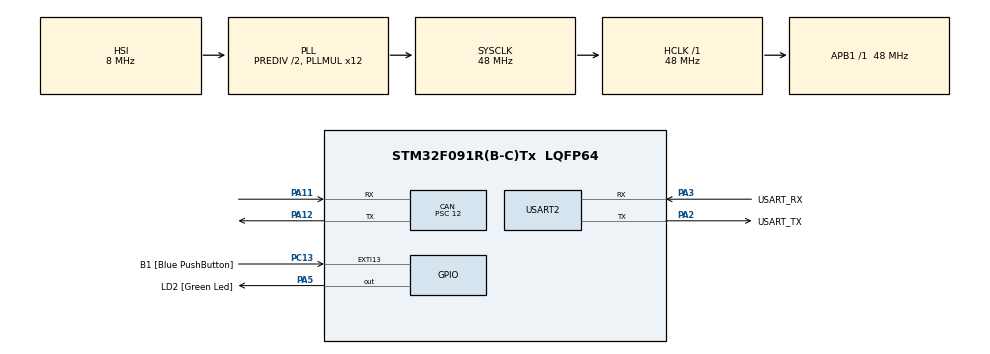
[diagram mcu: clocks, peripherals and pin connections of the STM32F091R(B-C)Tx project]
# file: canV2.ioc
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CAN.BS1=CAN_BS1_8TQ
CAN.BS2=CAN_BS2_2TQ
CAN.CalculateBaudRate=363636
CAN.CalculateTimeBit=2750
CAN.CalculateTimeQuantum=250.0
CAN.Prescaler=12
Mcu.Family=STM32F0
Mcu.Name=STM32F091R(B-C)Tx
Mcu.Package=LQFP64
NVIC.CEC_CAN_IRQn=true\:0\:0\:false\:false\:true\:true\:true
PA11.Mode=CAN_Activate
PA11.Signal=CAN_RX
PA12.Mode=CAN_Activate
PA12.Signal=CAN_TX
PA13.GPIO_Label=TMS
PA13.Mode=Serial_Wire
PA13.Signal=SYS_SWDIO
PA14.GPIO_Label=TCK
PA14.Mode=Serial_Wire
PA14.Signal=SYS_SWCLK
PA2.GPIO_Label=USART_TX
PA2.GPIO_Mode=GPIO_MODE_AF_PP
PA2.GPIO_PuPd=GPIO_NOPULL
PA2.GPIO_Speed=GPIO_SPEED_FREQ_LOW
PA2.Mode=Asynchronous
PA2.Signal=USART2_TX
PA3.GPIO_Label=USART_RX
PA3.GPIO_Mode=GPIO_MODE_AF_PP
PA3.GPIO_PuPd=GPIO_NOPULL
PA3.GPIO_Speed=GPIO_SPEED_FREQ_LOW
PA3.Mode=Asynchronous
PA3.Signal=USART2_RX
PA5.GPIO_Label=LD2 [Green Led]
PA5.GPIO_Mode=GPIO_MODE_OUTPUT_PP
PA5.GPIO_PuPd=GPIO_NOPULL
PA5.GPIO_Speed=GPIO_SPEED_FREQ_LOW
PA5.Signal=GPIO_Output
PC13.GPIO_Label=B1 [Blue PushButton]
PC13.GPIO_ModeDefaultEXTI=GPIO_MODE_IT_FALLING
PC13.Signal=GPXTI13
PC14OSC32_IN.Mode=LSE-External-Oscillator
PC14OSC32_IN.Signal=RCC_OSC32_IN
PC15OSC32_OUT.Mode=LSE-External-Oscillator
PC15OSC32_OUT.Signal=RCC_OSC32_OUT
PF0-OSC_IN.Mode=HSE-External-Clock-Source
PF0-OSC_IN.Signal=RCC_OSC_IN
PF1-OSC_OUT.Signal=RCC_OSC_OUT
ProjectManager.HeapSize=0x200
ProjectManager.StackSize=0x400
ProjectManager.TargetToolchain=STM32CubeIDE
RCC.AHBFreq_Value=48000000
RCC.APB1Freq_Value=48000000
RCC.APB1TimFreq_Value=48000000
RCC.FLatency-AdvancedSettings=FLASH_LATENCY_1
RCC.HCLKFreq_Value=48000000
RCC.PLLDivider=RCC_PREDIV_DIV2
RCC.PLLMUL=RCC_PLL_MUL12
RCC.PREFETCH_ENABLE-AdvancedSettings=1
RCC.SYSCLKFreq_VALUE=48000000
RCC.SYSCLKSource=RCC_SYSCLKSOURCE_PLLCLK
USART2.VirtualMode=VM_ASYNC
USART2.VirtualMode-Asynchronous=VM_ASYNC
board=NUCLEO-F091RC

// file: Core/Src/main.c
/* USER CODE BEGIN Header */
/**
 ******************************************************************************
 * @file           : main.c
 * @brief          : Main program body
 * @author 		: Theo RUSINOWITCH <teo.rusi@hotmail.fr>
 ******************************************************************************
 * @attention
 *
 * <h2><center>&copy; Copyright (c) 2021 STMicroelectronics.
 * All rights reserved.</center></h2>
 *
 * This software component is licensed by ST under BSD 3-Clause license,
 * the "License"; You may not use this file except in compliance with the
 * License. You may obtain a copy of the License at:
 *                        opensource.org/licenses/BSD-3-Clause
 *
 ******************************************************************************
 */
/* USER CODE END Header */
#include "main.h"
/* USER CODE BEGIN Includes */
#include "defineCan.h"
#include "can.h"
/* USER CODE END Includes */

CAN_HandleTypeDef hcan;

UART_HandleTypeDef huart2;
/* USER CODE BEGIN PV */
CAN_TxHeaderTypeDef TxHeader;
/* USER CODE END PV */

void SystemClock_Config(void);
static void MX_GPIO_Init(void);
static void MX_USART2_UART_Init(void);
static void MX_CAN_Init(void);
/* USER CODE BEGIN PFP */

void HAL_CAN_RxFifo0MsgPendingCallback(CAN_HandleTypeDef *hcan);
/* USER CODE END PFP */

/* USER CODE BEGIN 0 */

void HAL_CAN_RxFifo0MsgPendingCallback(CAN_HandleTypeDef *hcan) {
	// traitement et mise en forme de la trame
	/////////////////////////////////////////////////////////////////////////
	uint8_t RxData[8];
	CAN_RxHeaderTypeDef RxHeader;
	HAL_CAN_GetRxMessage(hcan, CAN_RX_FIFO0, &RxHeader, RxData);

	struct CanResponse_t msg;
	msg = traitement_trame( RxHeader, RxData);
	/////////////////////////////////////////////////////////////////////////

	//	le message et ses info sont dans la variable msg

	//	écrire le code ICI

	//renvoi un msg sur le bus can
	uint8_t data[8] = {0x01,0x02,0xFF,0x34,0x45};
	send(CAN_ADDR_RASPBERRY, AVANCE, data, 5, true, 5) ;
}

/* USER CODE END 0 */

int main(void) {

	/* MCU Configuration--------------------------------------------------------*/

	/* Reset of all peripherals, Initializes the Flash interface and the Systick. */
	HAL_Init();

	/* Configure the system clock */
	SystemClock_Config();

	/* Initialize all configured peripherals */
	MX_GPIO_Init();
	MX_USART2_UART_Init();
	MX_CAN_Init();
	/* USER CODE BEGIN 2 */
	CAN_Config(hcan, CAN_ADDR_BASE_ROULANTE);

	char *msg = "\n\r\n\rHello Nucleo Fun!\n\r";
	HAL_UART_Transmit(&huart2, (uint8_t*) msg, sizeof(msg), 1000);
	//HAL_GPIO_WritePin(GPIOA, GPIO_PIN_5, 1);
	HAL_Delay(1500);
	//HAL_GPIO_WritePin(GPIOA, GPIO_PIN_5, 0);   // LED on PA5 OFF
	HAL_Delay(500);
	/* USER CODE END 2 */

	/* Infinite loop */
	/* USER CODE BEGIN WHILE */
	uint8_t data[8] = {0x01,0x02,0xFF,0x34,0x45};
	send(CAN_ADDR_RASPBERRY, AVANCE, data, 5, true, 5) ;
	while (1) {
		HAL_Delay(1500);
		//HAL_GPIO_WritePin(GPIOA, GPIO_PIN_5, 0);   // LED on PA5 OFF
		HAL_Delay(500);
		//HAL_GPIO_WritePin(GPIOA, GPIO_PIN_5, 1);
		//send(CAN_ADDR_BASE_ROULANTE, AVANCE, data, 5, true, 5) ;
		/* USER CODE END WHILE */

	}
}

void SystemClock_Config(void) {
	RCC_OscInitTypeDef RCC_OscInitStruct = { 0 };
	RCC_ClkInitTypeDef RCC_ClkInitStruct = { 0 };
	RCC_PeriphCLKInitTypeDef PeriphClkInit = { 0 };

	/** Initializes the RCC Oscillators according to the specified parameters
	 * in the RCC_OscInitTypeDef structure.
	 */
	RCC_OscInitStruct.OscillatorType = RCC_OSCILLATORTYPE_HSI;
	RCC_OscInitStruct.HSIState = RCC_HSI_ON;
	RCC_OscInitStruct.HSICalibrationValue = RCC_HSICALIBRATION_DEFAULT;
	RCC_OscInitStruct.PLL.PLLState = RCC_PLL_ON;
	RCC_OscInitStruct.PLL.PLLSource = RCC_PLLSOURCE_HSI;
	RCC_OscInitStruct.PLL.PLLMUL = RCC_PLL_MUL12;
	RCC_OscInitStruct.PLL.PREDIV = RCC_PREDIV_DIV2;
	if (HAL_RCC_OscConfig(&RCC_OscInitStruct) != HAL_OK) {
		Error_Handler();
	}
	/** Initializes the CPU, AHB and APB buses clocks
	 */
	RCC_ClkInitStruct.ClockType = RCC_CLOCKTYPE_HCLK | RCC_CLOCKTYPE_SYSCLK
			| RCC_CLOCKTYPE_PCLK1;
	RCC_ClkInitStruct.SYSCLKSource = RCC_SYSCLKSOURCE_PLLCLK;
	RCC_ClkInitStruct.AHBCLKDivider = RCC_SYSCLK_DIV1;
	RCC_ClkInitStruct.APB1CLKDivider = RCC_HCLK_DIV1;

	if (HAL_RCC_ClockConfig(&RCC_ClkInitStruct, FLASH_LATENCY_1) != HAL_OK) {
		Error_Handler();
	}
	PeriphClkInit.PeriphClockSelection = RCC_PERIPHCLK_USART2;
	PeriphClkInit.Usart2ClockSelection = RCC_USART2CLKSOURCE_PCLK1;
	if (HAL_RCCEx_PeriphCLKConfig(&PeriphClkInit) != HAL_OK) {
		Error_Handler();
	}
}

static void MX_CAN_Init(void) {

	hcan.Instance = CAN;
	hcan.Init.Prescaler = 12;
	hcan.Init.Mode = CAN_MODE_NORMAL;
	hcan.Init.SyncJumpWidth = CAN_SJW_1TQ;
	hcan.Init.TimeSeg1 = CAN_BS1_8TQ;
	hcan.Init.TimeSeg2 = CAN_BS2_2TQ;
	hcan.Init.TimeTriggeredMode = DISABLE;
	hcan.Init.AutoBusOff = DISABLE;
	hcan.Init.AutoWakeUp = ENABLE;
	hcan.Init.AutoRetransmission = DISABLE;
	hcan.Init.ReceiveFifoLocked = DISABLE;
	hcan.Init.TransmitFifoPriority = DISABLE;
	if (HAL_CAN_Init(&hcan) != HAL_OK) {
		Error_Handler();
	}

}

static void MX_USART2_UART_Init(void) {

	huart2.Instance = USART2;
	huart2.Init.BaudRate = 115200;
	huart2.Init.WordLength = UART_WORDLENGTH_8B;
	huart2.Init.StopBits = UART_STOPBITS_1;
	huart2.Init.Parity = UART_PARITY_NONE;
	huart2.Init.Mode = UART_MODE_TX_RX;
	huart2.Init.HwFlowCtl = UART_HWCONTROL_NONE;
	huart2.Init.OverSampling = UART_OVERSAMPLING_16;
	huart2.Init.OneBitSampling = UART_ONE_BIT_SAMPLE_DISABLE;
	huart2.AdvancedInit.AdvFeatureInit = UART_ADVFEATURE_NO_INIT;
	if (HAL_UART_Init(&huart2) != HAL_OK) {
		Error_Handler();
	}

}

static void MX_GPIO_Init(void) {
	GPIO_InitTypeDef GPIO_InitStruct = { 0 };

	/* GPIO Ports Clock Enable */
	__HAL_RCC_GPIOC_CLK_ENABLE();
	__HAL_RCC_GPIOF_CLK_ENABLE();
	__HAL_RCC_GPIOA_CLK_ENABLE();

	/*Configure GPIO pin Output Level */
	HAL_GPIO_WritePin(LD2_GPIO_Port, LD2_Pin, GPIO_PIN_RESET);

	/*Configure GPIO pin : B1_Pin */
	GPIO_InitStruct.Pin = B1_Pin;
	GPIO_InitStruct.Mode = GPIO_MODE_IT_FALLING;
	GPIO_InitStruct.Pull = GPIO_NOPULL;
	HAL_GPIO_Init(B1_GPIO_Port, &GPIO_InitStruct);

	/*Configure GPIO pin : LD2_Pin */
	GPIO_InitStruct.Pin = LD2_Pin;
	GPIO_InitStruct.Mode = GPIO_MODE_OUTPUT_PP;
	GPIO_InitStruct.Pull = GPIO_NOPULL;
	GPIO_InitStruct.Speed = GPIO_SPEED_FREQ_LOW;
	HAL_GPIO_Init(LD2_GPIO_Port, &GPIO_InitStruct);

}

void Error_Handler(void) {
	__disable_irq();
	while (1) {
	}
}
